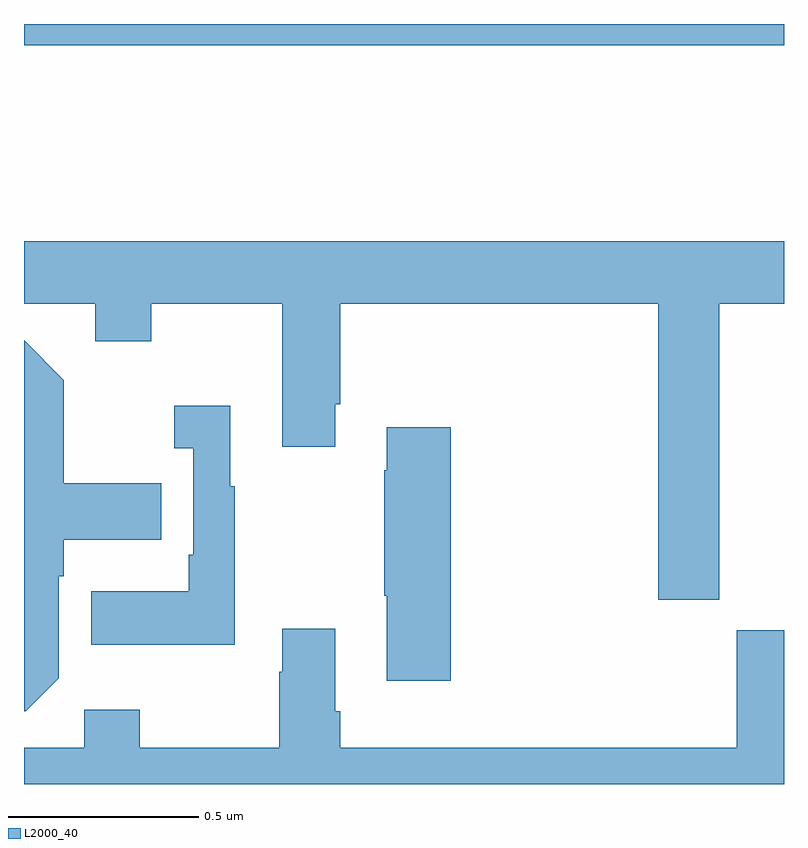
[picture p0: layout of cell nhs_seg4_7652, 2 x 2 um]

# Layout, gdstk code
import gdstk
lib = gdstk.Library(unit=1e-6, precision=1e-09)
def R(c, l, rs):  # rectangles x0, y0, x1, y1
    for r in rs: c.add(gdstk.rectangle(r[:2], r[2:], *l))
def P(c, l, *ps):  # polygons
    for p in ps: c.add(gdstk.Polygon(p, *l))
L2000_40 = (2000, 40)

nhs_seg4_7652 = lib.new_cell('nhs_seg4_7652')
R(nhs_seg4_7652, L2000_40, [(205,786.844,207,786.9)])
P(nhs_seg4_7652, L2000_40, [(206.829,786.164),(207,786.164),(207,786.328),(205,786.328),(205,786.164),(205.187,786.164),(205.187,786.065),(205.335,786.065),(205.335,786.164),(205.679,786.164),(205.679,785.787),(205.819,785.787),(205.819,785.899),(205.832,785.899),(205.832,786.164),(206.669,786.164),(206.669,785.385),(206.829,785.385)],
  [(205.092,785.178),(205.092,785.447),(205.105,785.447),(205.105,785.543),(205.361,785.543),(205.361,785.691),(205.105,785.691),(205.105,785.963),(205,786.068),(205,785.091),(205.005,785.091)],
  [(205.555,785.683),(205.543,785.683),(205.543,785.896),(205.395,785.896),(205.395,785.783),(205.446,785.783),(205.446,785.503),(205.434,785.503),(205.434,785.407),(205.177,785.407),(205.177,785.267),(205.555,785.267)],
  [(206.123,785.839),(205.955,785.839),(205.955,785.726),(205.948,785.726),(205.948,785.395),(205.955,785.395),(205.955,785.172),(206.123,785.172)],
  [(207,785.305),(206.876,785.305),(206.876,784.996),(205.832,784.996),(205.832,785.092),(205.819,785.092),(205.819,785.308),(205.679,785.308),(205.679,785.195),(205.672,785.195),(205.672,784.996),(205.305,784.996),(205.305,785.095),(205.158,785.095),(205.158,784.996),(205,784.996),(205,784.9),(207,784.9)])

lib.write_gds('nhs_seg4_7652.gds')
